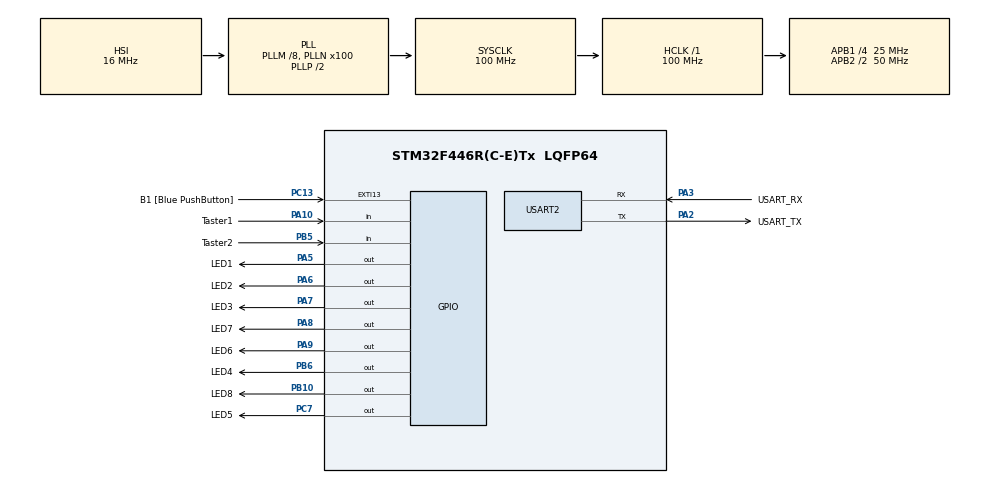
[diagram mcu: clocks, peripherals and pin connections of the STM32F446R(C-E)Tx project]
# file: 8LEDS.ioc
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Mcu.Family=STM32F4
Mcu.Name=STM32F446R(C-E)Tx
Mcu.Package=LQFP64
NVIC.PriorityGroup=NVIC_PRIORITYGROUP_0
PA10.GPIO_Label=Taster1
PA10.Signal=GPIO_Input
PA13.GPIO_Label=TMS
PA13.Mode=Serial_Wire
PA13.Signal=SYS_JTMS-SWDIO
PA14.GPIO_Label=TCK
PA14.Mode=Serial_Wire
PA14.Signal=SYS_JTCK-SWCLK
PA2.GPIO_Label=USART_TX
PA2.Mode=Asynchronous
PA2.Signal=USART2_TX
PA3.GPIO_Label=USART_RX
PA3.Mode=Asynchronous
PA3.Signal=USART2_RX
PA5.GPIO_Label=LED1
PA5.Signal=GPIO_Output
PA6.GPIO_Label=LED2
PA6.Signal=GPIO_Output
PA7.GPIO_Label=LED3
PA7.Signal=GPIO_Output
PA8.GPIO_Label=LED7
PA8.Signal=GPIO_Output
PA9.GPIO_Label=LED6
PA9.Signal=GPIO_Output
PB10.GPIO_Label=LED8
PB10.Signal=GPIO_Output
PB3.GPIO_Label=SWO
PB3.Signal=SYS_JTDO-SWO
PB5.GPIO_Label=Taster2
PB5.Signal=GPIO_Input
PB6.GPIO_Label=LED4
PB6.Signal=GPIO_Output
PC13.GPIO_Label=B1 [Blue PushButton]
PC13.GPIO_ModeDefaultEXTI=GPIO_MODE_IT_FALLING
PC13.Signal=GPXTI13
PC14-OSC32_IN.Mode=LSE-External-Oscillator
PC14-OSC32_IN.Signal=RCC_OSC32_IN
PC15-OSC32_OUT.Mode=LSE-External-Oscillator
PC15-OSC32_OUT.Signal=RCC_OSC32_OUT
PC7.GPIO_Label=LED5
PC7.Signal=GPIO_Output
PH0-OSC_IN.Mode=HSE-External-Oscillator
PH0-OSC_IN.Signal=RCC_OSC_IN
PH1-OSC_OUT.Mode=HSE-External-Oscillator
PH1-OSC_OUT.Signal=RCC_OSC_OUT
ProjectManager.HeapSize=0x200
ProjectManager.StackSize=0x400
ProjectManager.TargetToolchain=SW4STM32
RCC.48MHZClocksFreq_Value=84000000
RCC.AHBFreq_Value=100000000
RCC.APB1CLKDivider=RCC_HCLK_DIV4
RCC.APB1Freq_Value=25000000
RCC.APB1TimFreq_Value=50000000
RCC.APB2CLKDivider=RCC_HCLK_DIV2
RCC.APB2Freq_Value=50000000
RCC.APB2TimFreq_Value=100000000
RCC.CortexFreq_Value=100000000
RCC.FLatency-AdvancedSettings=FLASH_LATENCY_3
RCC.HCLKFreq_Value=100000000
RCC.HSE_VALUE=8000000
RCC.HSI_VALUE=16000000
RCC.PLLM=8
RCC.PLLN=100
RCC.SYSCLKFreq_VALUE=100000000
RCC.SYSCLKSource=RCC_SYSCLKSOURCE_PLLCLK
RCC.USBFreq_Value=100000000
RCC.VCOOutputFreq_Value=200000000
USART2.VirtualMode=VM_ASYNC
board=NUCLEO-F446RE

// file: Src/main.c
/* USER CODE BEGIN Header */
/**
  ******************************************************************************
  * @file           : main.c
  * @brief          : Main program body
  ******************************************************************************
  * @attention
  *
  * <h2><center>&copy; Copyright (c) 2019 STMicroelectronics.
  * All rights reserved.</center></h2>
  *
  * This software component is licensed by ST under BSD 3-Clause license,
  * the "License"; You may not use this file except in compliance with the
  * License. You may obtain a copy of the License at:
  *                        opensource.org/licenses/BSD-3-Clause
  *
  ******************************************************************************
  */
/* USER CODE END Header */

#include "main.h"
#include "usart.h"
#include "gpio.h"
#include "string.h"

/* USER CODE BEGIN PD */
#define DELAY_FAST 50
#define DELAY_SLOW 1000
#define LEDS 9
/* USER CODE END PD */

void SystemClock_Config(void);
/* USER CODE BEGIN PFP */
void led(int number, int Zustand)
{
	switch(number)
	{
	case 1:
		  HAL_GPIO_WritePin(LED1_GPIO_Port,LED1_Pin,Zustand);
		  break;
	case 2:
		  HAL_GPIO_WritePin(LED2_GPIO_Port,LED2_Pin,Zustand);
		  break;
	case 3:
		  HAL_GPIO_WritePin(LED3_GPIO_Port,LED3_Pin,Zustand);
		  break;
	case 4:
		  HAL_GPIO_WritePin(LED4_GPIO_Port,LED4_Pin,Zustand);
		  break;
	case 5:
		  HAL_GPIO_WritePin(LED5_GPIO_Port,LED5_Pin,Zustand);
		  break;
	case 6:
		  HAL_GPIO_WritePin(LED6_GPIO_Port,LED6_Pin,Zustand);
		  break;
	case 7:
		  HAL_GPIO_WritePin(LED7_GPIO_Port,LED7_Pin,Zustand);
		  break;
	case 8:
		  HAL_GPIO_WritePin(LED8_GPIO_Port,LED8_Pin,Zustand);
		  break;
	}
}

void Blink()
{
	  HAL_GPIO_TogglePin(LED1_GPIO_Port,LED1_Pin);
	  HAL_Delay(DELAY_SLOW);
}

void Lampen_Test(int i)
{
	HAL_GPIO_WritePin(LED1_GPIO_Port,LED1_Pin,i);
	HAL_GPIO_WritePin(LED2_GPIO_Port,LED2_Pin,i);
	HAL_GPIO_WritePin(LED3_GPIO_Port,LED3_Pin,i);
	HAL_GPIO_WritePin(LED4_GPIO_Port,LED4_Pin,i);
	HAL_GPIO_WritePin(LED5_GPIO_Port,LED5_Pin,i);
	HAL_GPIO_WritePin(LED6_GPIO_Port,LED6_Pin,i);
	HAL_GPIO_WritePin(LED7_GPIO_Port,LED7_Pin,i);
	HAL_GPIO_WritePin(LED8_GPIO_Port,LED8_Pin,i);
	HAL_Delay(DELAY_SLOW);
}
/* USER CODE END PFP */

int main(void)
{

  /* MCU Configuration--------------------------------------------------------*/

  /* Reset of all peripherals, Initializes the Flash interface and the Systick. */
  HAL_Init();

  /* Configure the system clock */
  SystemClock_Config();

  /* Initialize all configured peripherals */
  MX_GPIO_Init();
  MX_USART2_UART_Init();

  /* Infinite loop */
  while (1)
  {

    /* USER CODE BEGIN 3 */

	  Blink();

	  while(HAL_GPIO_ReadPin(Taster1_GPIO_Port,Taster1_Pin))
	  {
		  int a = 1;
		  Lampen_Test(a);
		  if(!HAL_GPIO_ReadPin(Taster1_GPIO_Port,Taster1_Pin))
		  {
			  a = 0;
			  Lampen_Test(a);
		  }
	  }

	  while(HAL_GPIO_ReadPin(Taster2_GPIO_Port,Taster2_Pin))
	  {
		  for (int i=1; i<LEDS; i++)
		  {

			  led(i,1);
			  HAL_Delay(DELAY_FAST);
		  }
		  for (int i=LEDS; i>1; i--)
		  {
			  led(i,0);
			  HAL_Delay(DELAY_FAST);
		  }
	  }
  }
  /* USER CODE END 3 */
}

void SystemClock_Config(void)
{
  RCC_OscInitTypeDef RCC_OscInitStruct = {0};
  RCC_ClkInitTypeDef RCC_ClkInitStruct = {0};

  /** Configure the main internal regulator output voltage
  */
  __HAL_RCC_PWR_CLK_ENABLE();
  __HAL_PWR_VOLTAGESCALING_CONFIG(PWR_REGULATOR_VOLTAGE_SCALE3);
  /** Initializes the CPU, AHB and APB busses clocks
  */
  RCC_OscInitStruct.OscillatorType = RCC_OSCILLATORTYPE_HSI;
  RCC_OscInitStruct.HSIState = RCC_HSI_ON;
  RCC_OscInitStruct.HSICalibrationValue = RCC_HSICALIBRATION_DEFAULT;
  RCC_OscInitStruct.PLL.PLLState = RCC_PLL_ON;
  RCC_OscInitStruct.PLL.PLLSource = RCC_PLLSOURCE_HSI;
  RCC_OscInitStruct.PLL.PLLM = 8;
  RCC_OscInitStruct.PLL.PLLN = 100;
  RCC_OscInitStruct.PLL.PLLP = RCC_PLLP_DIV2;
  RCC_OscInitStruct.PLL.PLLQ = 2;
  RCC_OscInitStruct.PLL.PLLR = 2;
  if (HAL_RCC_OscConfig(&RCC_OscInitStruct) != HAL_OK)
  {
    Error_Handler();
  }
  /** Initializes the CPU, AHB and APB busses clocks
  */
  RCC_ClkInitStruct.ClockType = RCC_CLOCKTYPE_HCLK|RCC_CLOCKTYPE_SYSCLK
                              |RCC_CLOCKTYPE_PCLK1|RCC_CLOCKTYPE_PCLK2;
  RCC_ClkInitStruct.SYSCLKSource = RCC_SYSCLKSOURCE_PLLCLK;
  RCC_ClkInitStruct.AHBCLKDivider = RCC_SYSCLK_DIV1;
  RCC_ClkInitStruct.APB1CLKDivider = RCC_HCLK_DIV4;
  RCC_ClkInitStruct.APB2CLKDivider = RCC_HCLK_DIV2;

  if (HAL_RCC_ClockConfig(&RCC_ClkInitStruct, FLASH_LATENCY_3) != HAL_OK)
  {
    Error_Handler();
  }
}

void Error_Handler(void)
{
}

/************************ (C) COPYRIGHT STMicroelectronics *****END OF FILE****/
